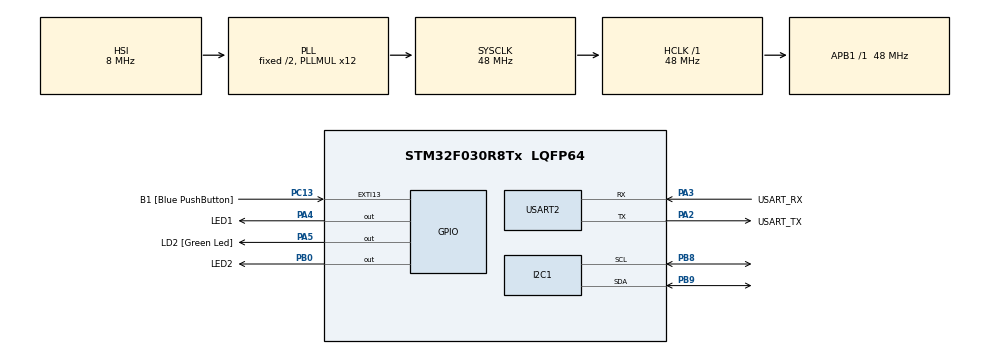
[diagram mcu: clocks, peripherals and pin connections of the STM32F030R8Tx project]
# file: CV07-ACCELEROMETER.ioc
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FREERTOS.Queues01=xVisualQueue,16,int16_t,0,Dynamic,NULL,NULL
FREERTOS.Tasks01=defaultTask,0,128,StartDefaultTask,Default,NULL,Dynamic,NULL,NULL;VisualTask,0,128,StartVisualTask,Default,NULL,Dynamic,NULL,NULL;AcceleroTask,0,128,StartAcceleroTask,Default,NULL,Dynamic,NULL,NULL
FREERTOS.configUSE_NEWLIB_REENTRANT=1
I2C1.Timing=0x00201D2B
Mcu.Family=STM32F0
Mcu.Name=STM32F030R8Tx
Mcu.Package=LQFP64
NVIC.TIM14_IRQn=true\:3\:0\:false\:false\:true\:false\:false\:true\:true
NVIC.TimeBase=TIM14_IRQn
NVIC.TimeBaseIP=TIM14
PA13.GPIO_Label=TMS
PA13.Mode=Serial_Wire
PA13.Signal=SYS_SWDIO
PA14.GPIO_Label=TCK
PA14.Mode=Serial_Wire
PA14.Signal=SYS_SWCLK
PA2.GPIO_Label=USART_TX
PA2.GPIO_Mode=GPIO_MODE_AF_PP
PA2.GPIO_PuPd=GPIO_NOPULL
PA2.GPIO_Speed=GPIO_SPEED_FREQ_LOW
PA2.Mode=Asynchronous
PA2.Signal=USART2_TX
PA3.GPIO_Label=USART_RX
PA3.GPIO_Mode=GPIO_MODE_AF_PP
PA3.GPIO_PuPd=GPIO_NOPULL
PA3.GPIO_Speed=GPIO_SPEED_FREQ_LOW
PA3.Mode=Asynchronous
PA3.Signal=USART2_RX
PA4.GPIO_Label=LED1
PA4.Signal=GPIO_Output
PA5.GPIO_Label=LD2 [Green Led]
PA5.GPIO_Mode=GPIO_MODE_OUTPUT_PP
PA5.GPIO_PuPd=GPIO_NOPULL
PA5.GPIO_Speed=GPIO_SPEED_FREQ_LOW
PA5.Signal=GPIO_Output
PB0.GPIO_Label=LED2
PB0.Signal=GPIO_Output
PB8.Mode=I2C
PB8.Signal=I2C1_SCL
PB9.Mode=I2C
PB9.Signal=I2C1_SDA
PC13.GPIO_Label=B1 [Blue PushButton]
PC13.GPIO_ModeDefaultEXTI=GPIO_MODE_IT_FALLING
PC13.Signal=GPXTI13
PC14-OSC32_IN.Mode=LSE-External-Oscillator
PC14-OSC32_IN.Signal=RCC_OSC32_IN
PC15-OSC32_OUT.Mode=LSE-External-Oscillator
PC15-OSC32_OUT.Signal=RCC_OSC32_OUT
PF0-OSC_IN.Mode=HSE-External-Clock-Source
PF0-OSC_IN.Signal=RCC_OSC_IN
PF1-OSC_OUT.Signal=RCC_OSC_OUT
ProjectManager.HeapSize=0x200
ProjectManager.StackSize=0x400
ProjectManager.TargetToolchain=STM32CubeIDE
RCC.AHBFreq_Value=48000000
RCC.APB1Freq_Value=48000000
RCC.APB1TimFreq_Value=48000000
RCC.HCLKFreq_Value=48000000
RCC.PLLMUL=RCC_PLL_MUL12
RCC.SYSCLKFreq_VALUE=48000000
RCC.SYSCLKSource=RCC_SYSCLKSOURCE_PLLCLK
USART2.VirtualMode-Asynchronous=VM_ASYNC
VP_FREERTOS_VS_CMSIS_V1.Mode=CMSIS_V1
VP_SYS_VS_tim14.Mode=TIM14
board=NUCLEO-F030R8

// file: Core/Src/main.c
/* USER CODE BEGIN Header */
/**
 ******************************************************************************
 * @file           : main.c
 * @brief          : Main program body
 ******************************************************************************
 * @attention
 *
 * Copyright (c) 2024 STMicroelectronics.
 * All rights reserved.
 *
 * This software is licensed under terms that can be found in the LICENSE file
 * in the root directory of this software component.
 * If no LICENSE file comes with this software, it is provided AS-IS.
 *
 ******************************************************************************
 */
/* USER CODE END Header */
#include "main.h"
#include "cmsis_os.h"

/* USER CODE BEGIN Includes */
#include <stdio.h>
#include "lis2dw12_reg.h"
/* USER CODE END Includes */

/* USER CODE BEGIN PD */
#define READ_DELAY 50
#define WRITE_DELAY 1000
/* USER CODE END PD */

I2C_HandleTypeDef hi2c1;

UART_HandleTypeDef huart2;

osThreadId defaultTaskHandle;
osThreadId VisualTaskHandle;
osThreadId AcceleroTaskHandle;
osMessageQId xVisualQueueHandle;

void SystemClock_Config(void);
static void MX_GPIO_Init(void);
static void MX_USART2_UART_Init(void);
static void MX_I2C1_Init(void);
void StartDefaultTask(void const * argument);
void StartVisualTask(void const * argument);
void StartAcceleroTask(void const * argument);

/* USER CODE BEGIN PFP */
static int32_t platform_write(void *handle, uint8_t reg, const uint8_t *bufp, uint16_t len);
static int32_t platform_read(void *handle, uint8_t reg, uint8_t *bufp, uint16_t len);
static stmdev_ctx_t lis2dw12 = { .write_reg = platform_write, .read_reg = platform_read, .handle = &hi2c1, };

/* USER CODE END PFP */

/* USER CODE BEGIN 0 */

static int32_t platform_write(void *handle, uint8_t reg, const uint8_t *bufp, uint16_t len)
{
	HAL_I2C_Mem_Write(handle, LIS2DW12_I2C_ADD_H, reg, I2C_MEMADD_SIZE_8BIT, (uint8_t*) bufp, len, 1000);
	return 0;
}
static int32_t platform_read(void *handle, uint8_t reg, uint8_t *bufp, uint16_t len)
{
	HAL_I2C_Mem_Read(handle, LIS2DW12_I2C_ADD_H, reg, I2C_MEMADD_SIZE_8BIT, bufp, len, 1000);
	return 0;
}

int _write(int file, char const *buf, int n)
{
	/* stdout redirection to UART2 */
	HAL_UART_Transmit(&huart2, (uint8_t*) (buf), n, HAL_MAX_DELAY);
	return n;
}

/* USER CODE END 0 */

int main(void)
{

  /* MCU Configuration--------------------------------------------------------*/

  /* Reset of all peripherals, Initializes the Flash interface and the Systick. */
  HAL_Init();

  /* Configure the system clock */
  SystemClock_Config();

  /* Initialize all configured peripherals */
  MX_GPIO_Init();
  MX_USART2_UART_Init();
  MX_I2C1_Init();

  /* Create the queue(s) */
  /* definition and creation of xVisualQueue */
  osMessageQDef(xVisualQueue, 16, int16_t);
  xVisualQueueHandle = osMessageCreate(osMessageQ(xVisualQueue), NULL);

  /* Create the thread(s) */
  /* definition and creation of defaultTask */
  osThreadDef(defaultTask, StartDefaultTask, osPriorityNormal, 0, 128);
  defaultTaskHandle = osThreadCreate(osThread(defaultTask), NULL);

  /* definition and creation of VisualTask */
  osThreadDef(VisualTask, StartVisualTask, osPriorityNormal, 0, 128);
  VisualTaskHandle = osThreadCreate(osThread(VisualTask), NULL);

  /* definition and creation of AcceleroTask */
  osThreadDef(AcceleroTask, StartAcceleroTask, osPriorityNormal, 0, 128);
  AcceleroTaskHandle = osThreadCreate(osThread(AcceleroTask), NULL);

  /* Start scheduler */
  osKernelStart();

  /* We should never get here as control is now taken by the scheduler */

  /* Infinite loop */
	while (1)
	{

	}
}

void SystemClock_Config(void)
{
  RCC_OscInitTypeDef RCC_OscInitStruct = {0};
  RCC_ClkInitTypeDef RCC_ClkInitStruct = {0};
  RCC_PeriphCLKInitTypeDef PeriphClkInit = {0};

  /** Initializes the RCC Oscillators according to the specified parameters
  * in the RCC_OscInitTypeDef structure.
  */
  RCC_OscInitStruct.OscillatorType = RCC_OSCILLATORTYPE_HSI;
  RCC_OscInitStruct.HSIState = RCC_HSI_ON;
  RCC_OscInitStruct.HSICalibrationValue = RCC_HSICALIBRATION_DEFAULT;
  RCC_OscInitStruct.PLL.PLLState = RCC_PLL_ON;
  RCC_OscInitStruct.PLL.PLLSource = RCC_PLLSOURCE_HSI;
  RCC_OscInitStruct.PLL.PLLMUL = RCC_PLL_MUL12;
  RCC_OscInitStruct.PLL.PREDIV = RCC_PREDIV_DIV1;
  if (HAL_RCC_OscConfig(&RCC_OscInitStruct) != HAL_OK)
  {
    Error_Handler();
  }

  /** Initializes the CPU, AHB and APB buses clocks
  */
  RCC_ClkInitStruct.ClockType = RCC_CLOCKTYPE_HCLK|RCC_CLOCKTYPE_SYSCLK
                              |RCC_CLOCKTYPE_PCLK1;
  RCC_ClkInitStruct.SYSCLKSource = RCC_SYSCLKSOURCE_PLLCLK;
  RCC_ClkInitStruct.AHBCLKDivider = RCC_SYSCLK_DIV1;
  RCC_ClkInitStruct.APB1CLKDivider = RCC_HCLK_DIV1;

  if (HAL_RCC_ClockConfig(&RCC_ClkInitStruct, FLASH_LATENCY_1) != HAL_OK)
  {
    Error_Handler();
  }
  PeriphClkInit.PeriphClockSelection = RCC_PERIPHCLK_I2C1;
  PeriphClkInit.I2c1ClockSelection = RCC_I2C1CLKSOURCE_HSI;
  if (HAL_RCCEx_PeriphCLKConfig(&PeriphClkInit) != HAL_OK)
  {
    Error_Handler();
  }
}

static void MX_I2C1_Init(void)
{

  hi2c1.Instance = I2C1;
  hi2c1.Init.Timing = 0x00201D2B;
  hi2c1.Init.OwnAddress1 = 0;
  hi2c1.Init.AddressingMode = I2C_ADDRESSINGMODE_7BIT;
  hi2c1.Init.DualAddressMode = I2C_DUALADDRESS_DISABLE;
  hi2c1.Init.OwnAddress2 = 0;
  hi2c1.Init.OwnAddress2Masks = I2C_OA2_NOMASK;
  hi2c1.Init.GeneralCallMode = I2C_GENERALCALL_DISABLE;
  hi2c1.Init.NoStretchMode = I2C_NOSTRETCH_DISABLE;
  if (HAL_I2C_Init(&hi2c1) != HAL_OK)
  {
    Error_Handler();
  }

  /** Configure Analogue filter
  */
  if (HAL_I2CEx_ConfigAnalogFilter(&hi2c1, I2C_ANALOGFILTER_ENABLE) != HAL_OK)
  {
    Error_Handler();
  }

  /** Configure Digital filter
  */
  if (HAL_I2CEx_ConfigDigitalFilter(&hi2c1, 0) != HAL_OK)
  {
    Error_Handler();
  }

}

static void MX_USART2_UART_Init(void)
{

  huart2.Instance = USART2;
  huart2.Init.BaudRate = 38400;
  huart2.Init.WordLength = UART_WORDLENGTH_8B;
  huart2.Init.StopBits = UART_STOPBITS_1;
  huart2.Init.Parity = UART_PARITY_NONE;
  huart2.Init.Mode = UART_MODE_TX_RX;
  huart2.Init.HwFlowCtl = UART_HWCONTROL_NONE;
  huart2.Init.OverSampling = UART_OVERSAMPLING_16;
  huart2.Init.OneBitSampling = UART_ONE_BIT_SAMPLE_DISABLE;
  huart2.AdvancedInit.AdvFeatureInit = UART_ADVFEATURE_NO_INIT;
  if (HAL_UART_Init(&huart2) != HAL_OK)
  {
    Error_Handler();
  }

}

static void MX_GPIO_Init(void)
{
  GPIO_InitTypeDef GPIO_InitStruct = {0};

  /* GPIO Ports Clock Enable */
  __HAL_RCC_GPIOC_CLK_ENABLE();
  __HAL_RCC_GPIOF_CLK_ENABLE();
  __HAL_RCC_GPIOA_CLK_ENABLE();
  __HAL_RCC_GPIOB_CLK_ENABLE();

  /*Configure GPIO pin Output Level */
  HAL_GPIO_WritePin(GPIOA, LED1_Pin|LD2_Pin, GPIO_PIN_RESET);

  /*Configure GPIO pin Output Level */
  HAL_GPIO_WritePin(LED2_GPIO_Port, LED2_Pin, GPIO_PIN_RESET);

  /*Configure GPIO pin : B1_Pin */
  GPIO_InitStruct.Pin = B1_Pin;
  GPIO_InitStruct.Mode = GPIO_MODE_IT_FALLING;
  GPIO_InitStruct.Pull = GPIO_NOPULL;
  HAL_GPIO_Init(B1_GPIO_Port, &GPIO_InitStruct);

  /*Configure GPIO pins : LED1_Pin LD2_Pin */
  GPIO_InitStruct.Pin = LED1_Pin|LD2_Pin;
  GPIO_InitStruct.Mode = GPIO_MODE_OUTPUT_PP;
  GPIO_InitStruct.Pull = GPIO_NOPULL;
  GPIO_InitStruct.Speed = GPIO_SPEED_FREQ_LOW;
  HAL_GPIO_Init(GPIOA, &GPIO_InitStruct);

  /*Configure GPIO pin : LED2_Pin */
  GPIO_InitStruct.Pin = LED2_Pin;
  GPIO_InitStruct.Mode = GPIO_MODE_OUTPUT_PP;
  GPIO_InitStruct.Pull = GPIO_NOPULL;
  GPIO_InitStruct.Speed = GPIO_SPEED_FREQ_LOW;
  HAL_GPIO_Init(LED2_GPIO_Port, &GPIO_InitStruct);

}

void StartDefaultTask(void const * argument)
{
  /* USER CODE BEGIN 5 */
	/* Infinite loop */
	for(;;)
	{
		/*static int16_t msg;
		msg = 5000;
		xQueueSend(xVisualQueueHandle, &msg, 0);
		vTaskDelay(100);
		msg = 0;
		xQueueSend(xVisualQueueHandle, &msg, 0);
		vTaskDelay(100);
		msg = -5000;
		xQueueSend(xVisualQueueHandle, &msg, 0);
		vTaskDelay(100);
		msg = 0;
		xQueueSend(xVisualQueueHandle, &msg, 0);
		vTaskDelay(100);*/
		osDelay(1);
	}
  /* USER CODE END 5 */
}

void StartVisualTask(void const * argument)
{
  /* USER CODE BEGIN StartVisualTask */
	/* Infinite loop */
	for(;;)
	{
		int16_t msg = 0;
		if (xQueueReceive(xVisualQueueHandle, &msg, portMAX_DELAY))
		{
			if (msg < -1000)
			{
				HAL_GPIO_WritePin(LED1_GPIO_Port, LED1_Pin, 1);
			}
			else
			{
				HAL_GPIO_WritePin(LED1_GPIO_Port, LED1_Pin, 0);
			}

			if (msg > 1000)
			{
				HAL_GPIO_WritePin(LED2_GPIO_Port, LED2_Pin, 1);
			}
			else
			{
				HAL_GPIO_WritePin(LED2_GPIO_Port, LED2_Pin, 0);
			}
		}
		osDelay(1);
	}
  /* USER CODE END StartVisualTask */
}

void StartAcceleroTask(void const * argument)
{
  /* USER CODE BEGIN StartAcceleroTask */
	uint8_t whoamI = 0;
	lis2dw12_device_id_get(&lis2dw12, &whoamI);
	printf("LIS2DW12_ID %s\n", (whoamI == LIS2DW12_ID) ? "OK" : "FAIL");
	osDelay(500);

	lis2dw12_full_scale_set(&lis2dw12, LIS2DW12_2g);
	lis2dw12_power_mode_set(&lis2dw12, LIS2DW12_CONT_LOW_PWR_LOW_NOISE_2);
	lis2dw12_block_data_update_set(&lis2dw12, PROPERTY_ENABLE);
	// enable continuous FIFO
	lis2dw12_fifo_mode_set(&lis2dw12, LIS2DW12_STREAM_MODE);
	// enable part from power-down
	lis2dw12_data_rate_set(&lis2dw12, LIS2DW12_XL_ODR_25Hz);
	/* Infinite loop */
	for(;;)
	{
		static uint8_t counter;
		uint8_t samples;
		int16_t raw_acceleration[3];
		lis2dw12_fifo_data_level_get(&lis2dw12, &samples);
		for (uint8_t i = 0; i < samples; i++)
		{
			// Read acceleration data
			lis2dw12_acceleration_raw_get(&lis2dw12, raw_acceleration);
		}
		xQueueSend(xVisualQueueHandle, &raw_acceleration[0], 0);

		osDelay(READ_DELAY);

		if(++counter > WRITE_DELAY/READ_DELAY){
			printf("X=%d Y=%d Z=%d\n\r", raw_acceleration[0], raw_acceleration[1], raw_acceleration[2]);
			counter = 0;
		}
	}
  /* USER CODE END StartAcceleroTask */
}

void HAL_TIM_PeriodElapsedCallback(TIM_HandleTypeDef *htim)
{
  if (htim->Instance == TIM14) {
    HAL_IncTick();
  }
}

void Error_Handler(void)
{
	__disable_irq();
	while (1)
	{
	}
}
